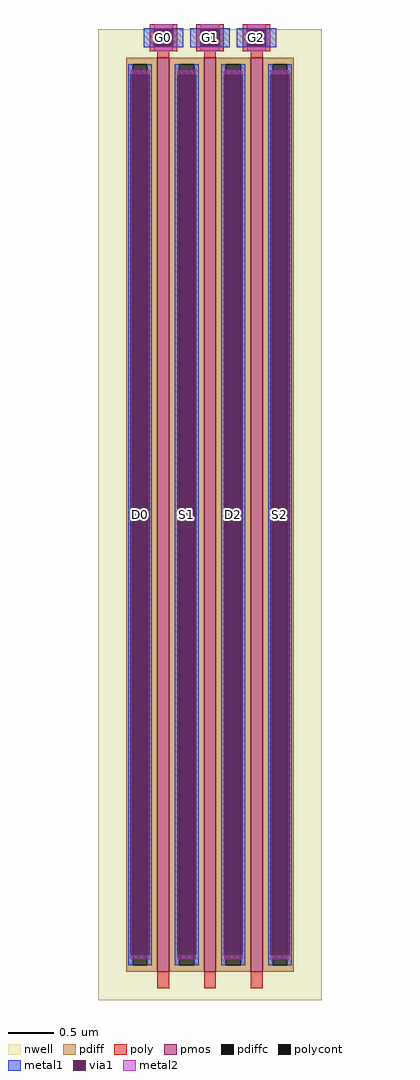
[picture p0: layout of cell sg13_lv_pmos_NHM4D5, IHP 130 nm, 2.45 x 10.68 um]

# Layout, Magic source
magic
tech ihp-sg13g2
magscale 1 2
<< nwell >>
rect -245 -1081 245 1043
<< pmos >>
rect -115 -1019 -89 981
rect -13 -1019 13 981
rect 89 -1019 115 981
<< pdiff >>
rect -183 967 -115 981
rect -183 -1005 -169 967
rect -137 -1005 -115 967
rect -183 -1019 -115 -1005
rect -89 967 -13 981
rect -89 -1005 -67 967
rect -35 -1005 -13 967
rect -89 -1019 -13 -1005
rect 13 967 89 981
rect 13 -1005 35 967
rect 67 -1005 89 967
rect 13 -1019 89 -1005
rect 115 967 183 981
rect 115 -1005 137 967
rect 169 -1005 183 967
rect 115 -1019 183 -1005
<< pdiffc >>
rect -169 -1005 -137 967
rect -67 -1005 -35 967
rect 35 -1005 67 967
rect 137 -1005 169 967
<< poly >>
rect -132 1041 -72 1055
rect -132 1009 -118 1041
rect -86 1009 -72 1041
rect -132 995 -72 1009
rect -30 1041 30 1055
rect -30 1009 -16 1041
rect 16 1009 30 1041
rect -30 995 30 1009
rect 72 1041 132 1055
rect 72 1009 86 1041
rect 118 1009 132 1041
rect 72 995 132 1009
rect -115 981 -89 995
rect -13 981 13 995
rect 89 981 115 995
rect -115 -1055 -89 -1019
rect -13 -1055 13 -1019
rect 89 -1055 115 -1019
<< polycont >>
rect -118 1009 -86 1041
rect -16 1009 16 1041
rect 86 1009 118 1041
<< metal1 >>
rect -145 1045 -59 1046
rect -145 1005 -122 1045
rect -82 1005 -59 1045
rect -145 1004 -59 1005
rect -43 1045 43 1046
rect -43 1005 -20 1045
rect 20 1005 43 1045
rect -43 1004 43 1005
rect 59 1045 145 1046
rect 59 1005 82 1045
rect 122 1005 145 1045
rect 59 1004 145 1005
rect -179 945 -169 967
rect -137 945 -127 967
rect -179 -983 -173 945
rect -133 -983 -127 945
rect -179 -1005 -169 -983
rect -137 -1005 -127 -983
rect -77 945 -67 967
rect -35 945 -25 967
rect -77 -983 -71 945
rect -31 -983 -25 945
rect -77 -1005 -67 -983
rect -35 -1005 -25 -983
rect 25 945 35 967
rect 67 945 77 967
rect 25 -983 31 945
rect 71 -983 77 945
rect 25 -1005 35 -983
rect 67 -1005 77 -983
rect 127 945 137 967
rect 169 945 179 967
rect 127 -983 133 945
rect 173 -983 179 945
rect 127 -1005 137 -983
rect 169 -1005 179 -983
<< via1 >>
rect -122 1041 -82 1045
rect -122 1009 -118 1041
rect -118 1009 -86 1041
rect -86 1009 -82 1041
rect -122 1005 -82 1009
rect -20 1041 20 1045
rect -20 1009 -16 1041
rect -16 1009 16 1041
rect 16 1009 20 1041
rect -20 1005 20 1009
rect 82 1041 122 1045
rect 82 1009 86 1041
rect 86 1009 118 1041
rect 118 1009 122 1041
rect 82 1005 122 1009
rect -173 -983 -169 945
rect -169 -983 -137 945
rect -137 -983 -133 945
rect -71 -983 -67 945
rect -67 -983 -35 945
rect -35 -983 -31 945
rect 31 -983 35 945
rect 35 -983 67 945
rect 67 -983 71 945
rect 133 -983 137 945
rect 137 -983 169 945
rect 169 -983 173 945
<< metal2 >>
rect -122 1045 -82 1054
rect -122 996 -82 1005
rect -20 1045 20 1054
rect -20 996 20 1005
rect 82 1045 122 1054
rect 82 996 122 1005
rect -173 945 -133 954
rect -173 -992 -133 -983
rect -71 945 -31 954
rect -71 -992 -31 -983
rect 31 945 71 954
rect 31 -992 71 -983
rect 133 945 173 954
rect 133 -992 173 -983
<< labels >>
rlabel pdiffc -153 -19 -153 -19 0 D0
port 1 nsew
rlabel polycont -102 1025 -102 1025 0 G0
port 2 nsew
rlabel pdiffc -51 -19 -51 -19 0 S1
port 3 nsew
rlabel polycont 0 1025 0 1025 0 G1
port 4 nsew
rlabel pdiffc 51 -19 51 -19 0 D2
port 5 nsew
rlabel pdiffc 153 -19 153 -19 0 S2
port 6 nsew
rlabel polycont 102 1025 102 1025 0 G2
port 7 nsew
<< properties >>
string gencell sg13_lv_pmos
string library sg13g2
string parameters w 10 l 0.13 m 1 nf 3 diffcov 100 polycov 100 guard 0 glc 1 grc 1 gtc 1 gbc 1 tbcov 100 rlcov 100 topc 1 botc 0 poverlap 0 doverlap 1 lmin 0.13 wmin 0.15 class mosfet compatible {sg13_lv_pmos sg13_hv_pmos} full_metal 1 conn_gates 0 gate_ring 0 ccols 1 viasrc 100 viadrn 100 viagate 100 viagb 0 viagr 0 viagl 0 viagt 0 doports 1
<< end >>
